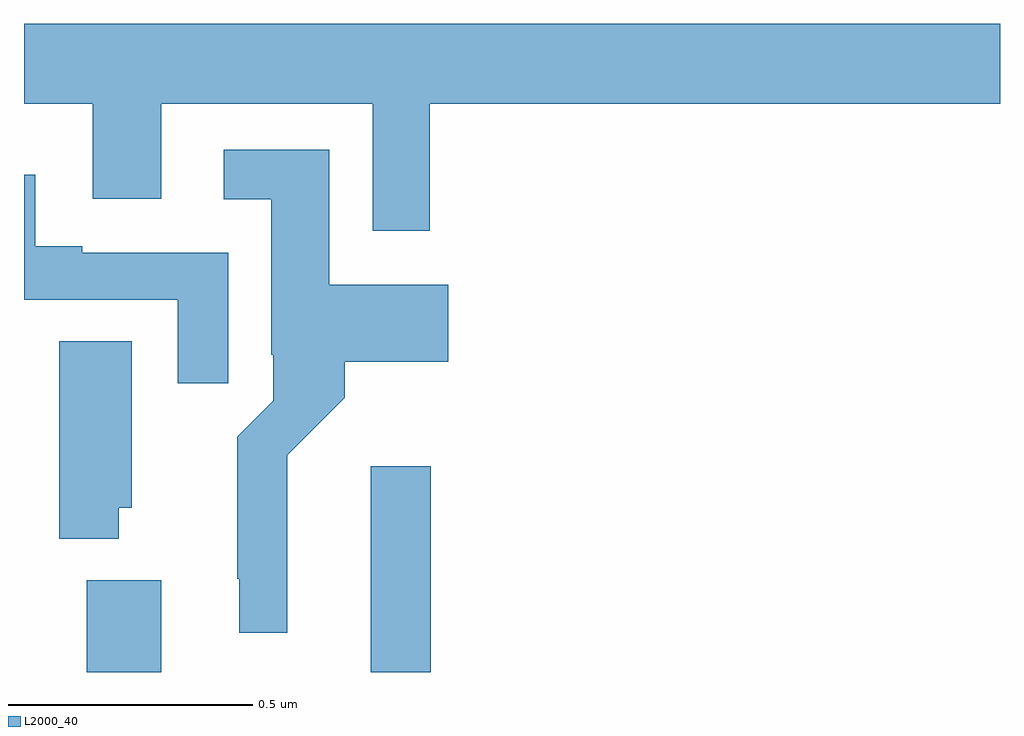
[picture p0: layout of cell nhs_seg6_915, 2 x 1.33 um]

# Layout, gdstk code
import gdstk
lib = gdstk.Library(unit=1e-6, precision=1e-09)
def R(c, l, rs):  # rectangles x0, y0, x1, y1
    for r in rs: c.add(gdstk.rectangle(r[:2], r[2:], *l))
def P(c, l, *ps):  # polygons
    for p in ps: c.add(gdstk.Polygon(p, *l))
L2000_40 = (2000, 40)

nhs_seg6_915 = lib.new_cell('nhs_seg6_915')
R(nhs_seg6_915, L2000_40, [(122.129,951.5,122.281,951.688), (122.711,951.5,122.834,951.922)])
P(nhs_seg6_915, L2000_40, [(122.831,952.664),(124,952.664),(124,952.828),(122,952.828),(122,952.664),(122.141,952.664),(122.141,952.47),(122.281,952.47),(122.281,952.664),(122.715,952.664),(122.715,952.404),(122.831,952.404)],
  [(122.539,951.944),(122.657,952.062),(122.657,952.136),(122.869,952.136),(122.869,952.294),(122.626,952.294),(122.626,952.57),(122.409,952.57),(122.409,952.469),(122.507,952.469),(122.507,952.15),(122.511,952.15),(122.511,952.056),(122.437,951.982),(122.437,951.691),(122.441,951.691),(122.441,951.581),(122.539,951.581)],
  [(122.419,952.359),(122.119,952.359),(122.119,952.372),(122.023,952.372),(122.023,952.519),(122,952.519),(122,952.263),(122.315,952.263),(122.315,952.092),(122.419,952.092)],
  [(122.194,951.837),(122.221,951.837),(122.221,952.178),(122.072,952.178),(122.072,951.773),(122.194,951.773)])

lib.write_gds('nhs_seg6_915.gds')
